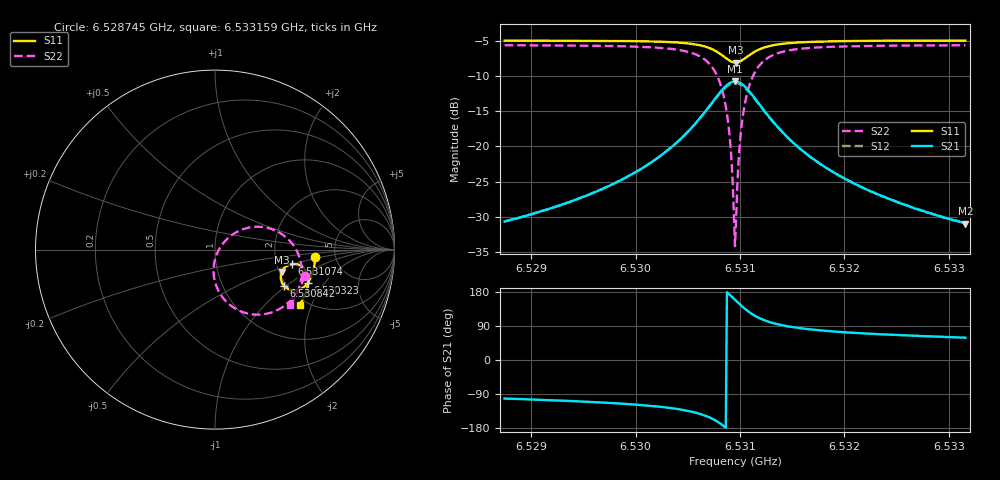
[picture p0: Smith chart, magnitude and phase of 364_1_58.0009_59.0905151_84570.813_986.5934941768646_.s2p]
#  HZ  S  RI  R  50.00
! Rohde & Schwarz Vector Network Analyzer
! Rohde-Schwarz,ZNB20-2Port,1311601062101988,3.16
! Created: UTC 3/21/2024, 1:06:38 AM
! freq[Hz]  re:S11  im:S11  re:S21  im:S21  re:S12  im:S12  re:S22  im:S22
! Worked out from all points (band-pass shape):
!   401 points, 6.528745 GHz to 6.533159 GHz, reference 50 ohm
!   highest |S21| = -10.80 dB at 6.530952 GHz (marker M1); lowest = -31.0 dB at 6.533159 GHz (marker M2)
!   |S21| within 3 dB of the highest: 6.530733 GHz to 6.531173 GHz (440.8 kHz wide, 0.00675 % of centre)
!   lowest |S11| = -8.1 dB at 6.530963 GHz (marker M3), VSWR 2.29, Z = 103 - j30.6 ohm
!   |S11| at or under -10 dB: nowhere
!   |S22| runs from -34.2 to -5.7 dB; largest |S21 - S12| = 0.011
!   S11 on the Smith chart (normalised r, x): 6.528745 GHz: 3.50, -0.45; 6.530323 GHz: 2.60, -1.39; 6.530842 GHz: 1.94, -0.97; 6.531074 GHz: 2.42, -0.48; 6.533159 GHz: 1.82, -1.65
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6.5287451e9  0.5596 -0.0437  -0.00587 -0.0287  -0.00637 -0.0286  0.4996 -0.1469
6.5294845e9  0.5506 -0.1044  -0.0147 -0.0409  -0.0155 -0.0407  0.4714 -0.214
6.5302239e9  0.5239 -0.1756  -0.0459 -0.0704  -0.0478 -0.0693  0.3949 -0.307
6.5303232e9  0.516 -0.1871  -0.0568 -0.0772  -0.0589 -0.0758  0.372 -0.3232
6.5306763e9  0.4533 -0.2267  -0.1528 -0.0956  -0.1548 -0.0896  0.1896 -0.3578
6.5307757e9  0.4146 -0.2223  -0.2129 -0.0724  -0.2126 -0.0639  0.0864 -0.3107
6.5308419e9  0.3856 -0.2026  -0.2559 -0.0283  -0.252 -0.0191  0.0192 -0.2295
6.530875e9  0.374 -0.1855  -0.272 0.00546  -0.2656 0.014  -0.00224 -0.1708
6.5308971e9  0.3689 -0.1717  -0.2777 0.0319  -0.2701 0.0393  -0.00781 -0.126
6.5309081e9  0.3673 -0.1642  -0.2788 0.0458  -0.2706 0.0525  -0.00764 -0.1027
6.5309302e9  0.3668 -0.1486  -0.277 0.0746  -0.2678 0.0799  -0.000194 -0.0557
6.5309412e9  0.3676 -0.1407  -0.2738 0.0889  -0.2644 0.0934  0.00715 -0.0324
6.5309522e9  0.3695 -0.1328  -0.2694 0.103  -0.2598 0.1065  0.0168 -0.0101
6.5309633e9  0.372 -0.1253  -0.2636 0.1166  -0.2539 0.1193  0.0286 0.0113
6.5310074e9  0.3899 -0.0996  -0.2287 0.1623  -0.2199 0.1616  0.0931 0.0809
6.5310405e9  0.4081 -0.0873  -0.1951 0.1843  -0.1878 0.1823  0.152 0.1121
6.5310736e9  0.4272 -0.081  -0.1606 0.196  -0.155 0.1932  0.2112 0.1259
6.5311509e9  0.4658 -0.0844  -0.0926 0.194  -0.0899 0.1915  0.3257 0.1107
6.5312612e9  0.4984 -0.1072  -0.0355 0.1642  -0.0341 0.1628  0.4187 0.0464
6.5316916e9  0.5197 -0.183  0.0141 0.0812  0.015 0.0809  0.4831 -0.1303
6.532431e9  0.4994 -0.2556  0.0167 0.0389  0.0173 0.0386  0.4553 -0.2456
6.5331593e9  0.4712 -0.3089  0.0146 0.0241  0.0152 0.0241  0.4202 -0.3078
